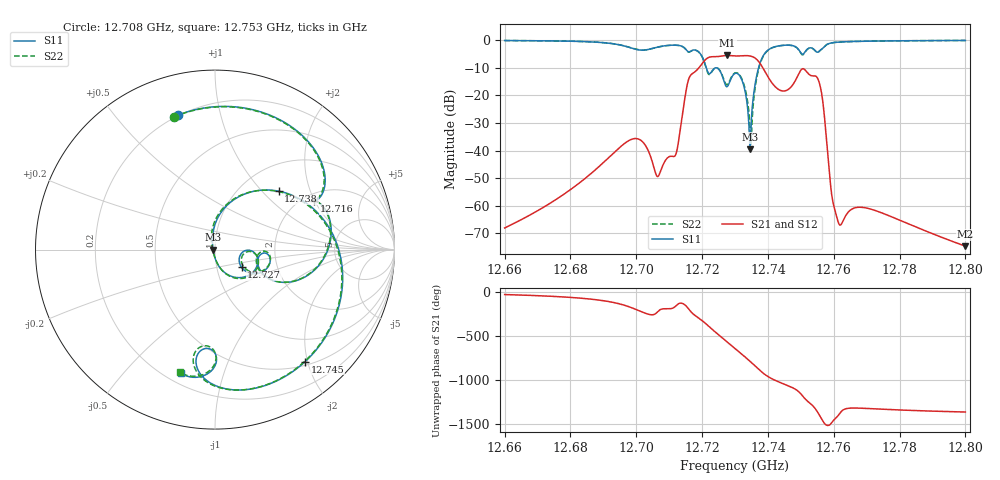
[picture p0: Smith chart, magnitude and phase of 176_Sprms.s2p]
! TOUCHSTONE file generated by CST MICROWAVE STUDIO
! Date and time: Wed Jul 31 19:46:39 2024
! Project name: WaveGuide_BPF-Ver4.1_U-shape_Ku_T3_C4_CWA_2.cst
! Parameters = {cavity_h=16; cavity_l0=10; cavity_l1=15.2097; cavity_l2=16.8806; cavity_l3=17.104; cavity_l4=17.2367; cavity_l5=17.1242; cavity_l6=17.5757; cavity_r=2.5; cavity_screw_l=0.5; cavity_screw_r=1.5; cavity_w=8; iris_h00=0; iris_h01=8.8149; iris_h112=0; iris_h12=5.5944; iris_h211=3.6654; i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
! Header version: 2018
! Port assignment regex: !\s*Touchstone port\s*([0-9]+)\s*=\s*(CST MWS port|CST DS port)\s*([0-9]+|Zmin|Zmax)\s*\(\"(.*)\"\)(\s*mode\s*([0-9]+))?.*
! Touchstone port assignment:
! Touchstone port 1 = CST MWS port 1 ("")
! Touchstone port 2 = CST MWS port 2 ("")
# GHz S RI R 50
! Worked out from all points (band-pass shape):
!   5001 points, 12.66 GHz to 12.8 GHz, reference 50 ohm
!   highest |S21| = -5.59 dB at 12.728 GHz (marker M1); lowest = -74.6 dB at 12.8 GHz (marker M2)
!   |S21| within 3 dB of the highest: 12.71999 GHz to 12.73768 GHz (17.69 MHz wide, 0.139 % of centre)
!   lowest |S11| = -39.6 dB at 12.735 GHz (marker M3), VSWR 1.02, Z = 49 - j0.0907 ohm
!   |S11| at or under -10 dB: 12.72126 GHz to 12.73718 GHz (15.92 MHz wide, 0.125 % of centre)
!   |S22| runs from -37.6 to -0.2 dB; largest |S21 - S12| = 1e-09
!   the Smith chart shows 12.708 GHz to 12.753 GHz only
!   S11 on the Smith chart (normalised r, x): 12.708 GHz: 0.20, +0.74; 12.716 GHz: 2.27, +1.98; 12.727 GHz: 1.32, -0.27; 12.738 GHz: 1.47, +1.25; 12.745 GHz: 0.56, -1.96; 12.753 GHz: 0.26, -0.73
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12.66  0.3539 0.9127  0.000357 -0.000174  0.000357 -0.000174  0.3599 0.9104
12.68335  0.8159 0.4676  0.00104 -0.00257  0.00104 -0.00257  0.8193 0.4622
12.69298  0.8237 -0.231  -0.00383 -0.008  -0.00383 -0.008  0.8254 -0.2322
12.69875  0.0797 -0.7045  -0.0161 -0.000494  -0.0161 -0.000494  0.0967 -0.7081
12.7029  -0.6487 -0.1332  -0.00587 0.0106  -0.00587 0.0106  -0.6424 -0.1635
12.70668  -0.4159 0.6232  -0.00282 0.00196  -0.00282 0.00196  -0.4356 0.6052
12.70802  -0.2072 0.7489  -0.00523 0.000857  -0.00523 0.000857  -0.2281 0.7391
12.71214  0.4118 0.6938  -0.00784 -0.00429  -0.00784 -0.00429  0.3999 0.6978
12.71628  0.5529 0.271  -0.1933 0.1044  -0.1933 0.1044  0.5469 0.2739
12.72163  0.2497 -0.1111  0.4562 -0.1188  0.4562 -0.1188  0.2419 -0.1071
12.7267  0.1479 -0.0985  -0.5199 -0.0385  -0.5199 -0.0385  0.1604 -0.0968
12.72768  0.1408 -0.0305  -0.466 0.2433  -0.466 0.2433  0.1522 -0.0346
12.73  0.2383 -0.0701  0.1009 0.5048  0.1009 0.5048  0.2418 -0.0766
12.73456  -0.0104 -0.000926  0.205 -0.4712  0.205 -0.4712  -0.00723 -0.0246
12.73829  0.3549 0.3255  -0.3171 0.0761  -0.3171 0.0761  0.3365 0.3265
12.74453  0.5019 -0.6244  0.092 0.0765  0.092 0.0765  0.4912 -0.6303
12.75335  -0.1835 -0.6917  -0.2072 0.0882  -0.2072 0.0882  -0.1894 -0.6857
12.75344  -0.1913 -0.6863  -0.2021 0.0984  -0.2021 0.0984  -0.1972 -0.68
12.75615  -0.1477 -0.6544  0.1214 0.0184  0.1214 0.0184  -0.1482 -0.6524
12.76153  -0.5675 -0.7208  0.00034 0.000336  0.00034 0.000336  -0.5743 -0.7154
12.77668  -0.9442 -0.1936  -0.000169 0.000644  -0.000169 0.000644  -0.946 -0.1853
12.8  -0.9405 0.2817  4.48e-05 0.000181  4.48e-05 0.000181  -0.9386 0.2885
